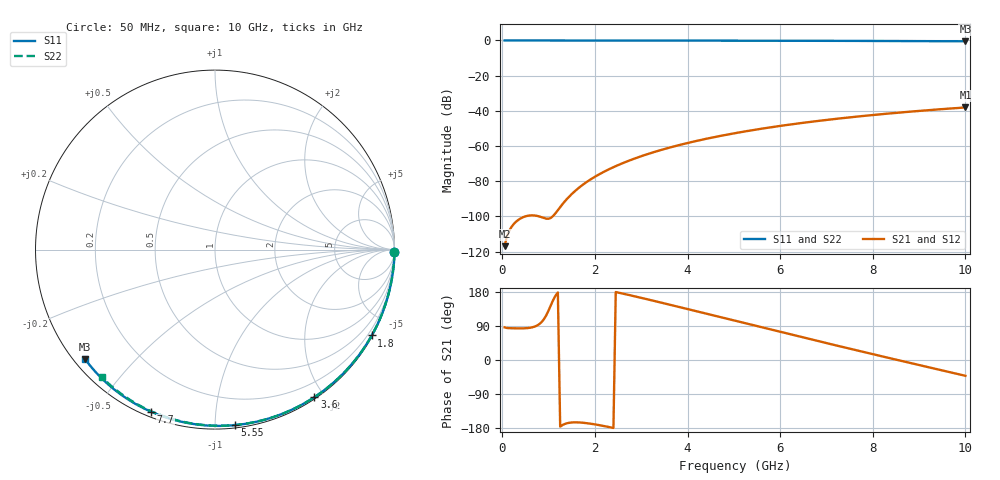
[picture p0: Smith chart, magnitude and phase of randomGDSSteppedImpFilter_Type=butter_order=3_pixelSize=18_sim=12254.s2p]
! freq	dB(S11)	phase(S11)	dB(S12)	phase(S12)
!  dB(S21)	phase(S21)	dB(S22)	phase(S22)
!S-par simulation data
#  GHz  S  DB  R 50
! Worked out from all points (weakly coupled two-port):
!   200 points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, 50 MHz to 10 GHz, reference 50 ohm
!   highest |S21| = -38.07 dB at 10 GHz (marker M1); lowest = -116.9 dB at 50 MHz (marker M2)
!   lowest |S11| = -0.5 dB at 10 GHz (marker M3), VSWR 36.68, Z = 1.54 - j18.2 ohm
!   |S11| at or under -10 dB: nowhere
!   |S22| runs from -0.4 to 0.0 dB; largest |S21 - S12| = 0
!   S11 on the Smith chart (normalised r, x): 50 MHz: open; 1.8 GHz: 0.03, -3.91; 3.6 GHz: 0.02, -1.88; 5.55 GHz: 0.02, -1.12; 7.7 GHz: 0.02, -0.68; 10 GHz: 0.03, -0.36
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0.05  -0.00 -0.8  -116.91 86.1  -116.91 86.1  -0.00 -0.8
0.45  -0.01 -7.3  -100.43 83.5  -100.43 83.5  -0.01 -6.8
0.9  -0.02 -14.5  -100.94 107.9  -100.94 107.9  -0.02 -13.6
1.75  -0.04 -27.9  -81.78 -165.7  -81.78 -165.7  -0.03 -26.2
1.8  -0.04 -28.7  -80.84 -166.3  -80.84 -166.3  -0.03 -26.9
1.85  -0.04 -29.5  -79.94 -167.1  -79.94 -167.1  -0.04 -27.7
2  -0.04 -31.8  -77.47 -169.9  -77.47 -169.9  -0.04 -29.9
2.15  -0.04 -34.1  -75.25 -173.2  -75.25 -173.2  -0.04 -32.0
2.35  -0.05 -37.2  -72.62 -178.1  -72.62 -178.1  -0.04 -34.9
2.55  -0.05 -40.3  -70.27 176.6  -70.27 176.6  -0.05 -37.8
2.95  -0.06 -46.4  -66.24 165.5  -66.24 165.5  -0.06 -43.5
3.4  -0.07 -53.1  -62.45 152.3  -62.45 152.3  -0.07 -49.9
3.6  -0.08 -56.0  -60.97 146.4  -60.97 146.4  -0.07 -52.7
4.3  -0.09 -66.2  -56.48 125.4  -56.48 125.4  -0.09 -62.2
5.05  -0.12 -76.7  -52.57 102.8  -52.57 102.8  -0.11 -72.2
5.55  -0.14 -83.6  -50.36 87.8  -50.36 87.8  -0.13 -78.7
6.1  -0.16 -91.0  -48.20 71.3  -48.20 71.3  -0.15 -85.6
6.7  -0.19 -98.8  -46.12 53.5  -46.12 53.5  -0.18 -93.0
7.7  -0.26 -111.6  -43.16 24.1  -43.16 24.1  -0.24 -105.0
8.35  -0.31 -119.7  -41.51 5.3  -41.51 5.3  -0.29 -112.6
9.2  -0.39 -130.1  -39.62 -19.0  -39.62 -19.0  -0.36 -122.4
10  -0.47 -139.9  -38.07 -41.7  -38.07 -41.7  -0.44 -131.4
